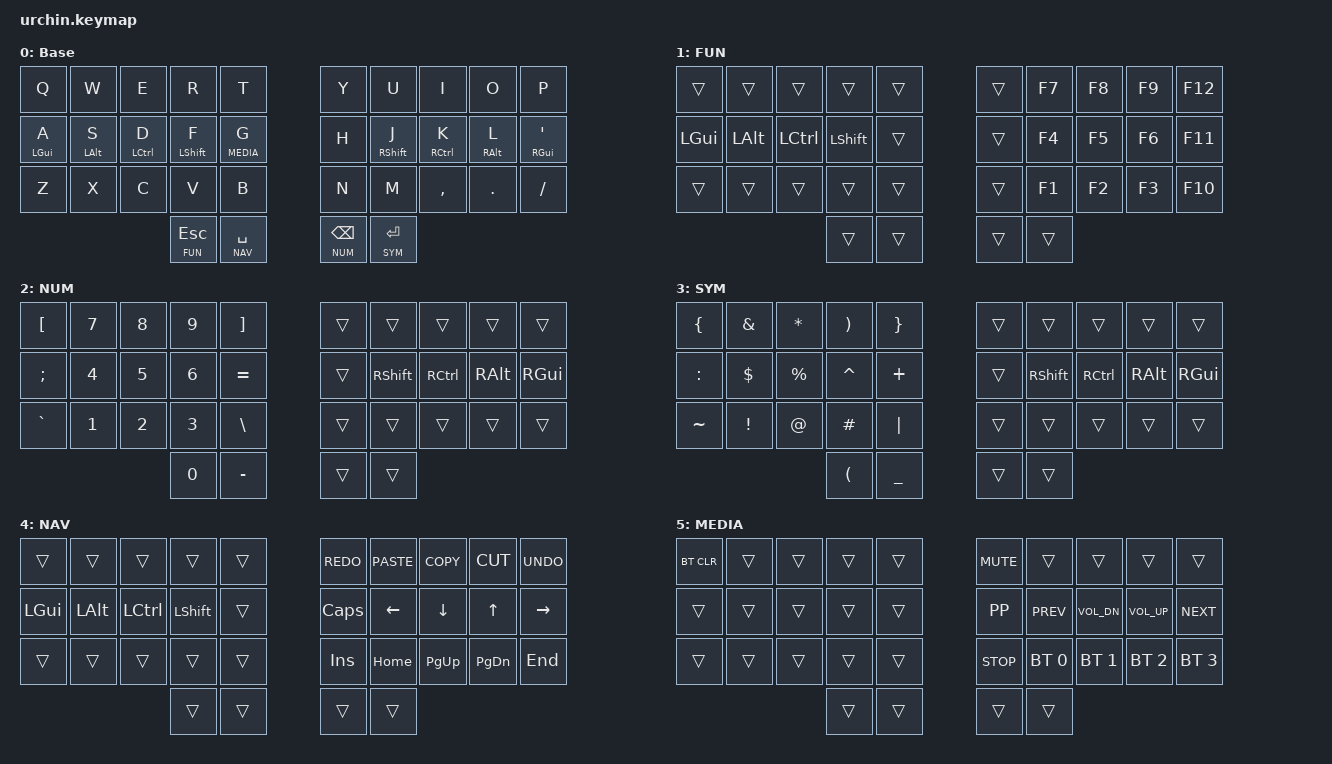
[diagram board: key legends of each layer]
/*
 * Copyright (c) 2020 duckyb
 *
 * SPDX-License-Identifier: MIT
 */

#include <behaviors.dtsi>
#include <dt-bindings/zmk/keys.h>
#include <dt-bindings/zmk/bt.h>
#include <dt-bindings/zmk/outputs.h>

// Layer definitions
#define BASE 0
#define FUN 1
#define NUM 2
#define SYM 3
#define NAV 4
#define MEDIA 5
// #define ACCENT 5
// #define SETTINGS 6
// -----------------

&sk {
	// don't release mods on other mods presses
	ignore-modifiers;
};

&lt {
    quick-tap-ms = <200>;
};


/ {

    behaviors {
        hm: homerow_mods {
            compatible = "zmk,behavior-hold-tap";
            #binding-cells = <2>;
            tapping-term-ms = <200>;
            quick-tap-ms = <0>;
            flavor = "tap-preferred";
            bindings = <&kp>, <&kp>;
        };
		lt {
			quick-tap-ms = <100>;	
		};
    };

    combos {
        compatible = "zmk,combos";
        // Your combos go here
        tab {
            timeout-ms = <50>;
            key-positions = <30 33>;
            bindings = <&kp TAB>;
        };
        del {
            timeout-ms = <50>;
            key-positions = <31 32>;
            bindings = <&kp DEL>;
        };

    };

	keymap {

		compatible = "zmk,keymap";
		// Base alpha layer
		default_layer {
			label = "Base";
			bindings = <
			// 0        // 1        //2          //3            //4                              // 5              // 6          // 7            // 8          // 9
			&kp Q       &kp W       &kp E        &kp R          &kp T                            &kp Y             &kp U         &kp I           &kp O         &kp P 
			// 10       // 11       //12         //13           //14                             //15              // 16         // 17           // 18         // 19
			&hm LGUI A  &hm LALT S  &hm LCTRL  D &hm LSHFT  F   &lt MEDIA G            &kp H       &hm RSHFT J   &hm RCTRL K     &hm RALT  L   &hm RGUI  SQT
			// 20       // 21       // 22         // 23         // 24                            // 25             // 26         // 27           // 28         // 29
			&kp Z       &kp X       &kp C        &kp V          &kp B                            &kp N             &kp M         &kp COMMA       &kp DOT       &kp SLASH
									             // 30           // 31                           // 32             // 33 
					                             &lt FUN ESC    &lt NAV SPACE                    &lt NUM BACKSPACE &lt SYM RET  
			>;
		};

		fun_layer {
			label = "FUN";
			bindings = <
			&trans    &trans    &trans     &trans     &trans             &trans  &kp F7 &kp F8 &kp F9 &kp F12
			&kp LGUI  &kp LALT  &kp LCTRL  &kp LSHFT  &trans             &trans  &kp F4 &kp F5 &kp F6 &kp F11
			&trans    &trans    &trans     &trans     &trans             &trans  &kp F1 &kp F2 &kp F3 &kp F10
								           &trans     &trans             &trans &trans
			>;
		};

		num_layer {
			label = "NUM";
			bindings = <
			&kp LBKT  &kp N7  &kp N8  &kp N9  &kp RBKT           &trans &trans &trans &trans &trans
			&kp SEMI  &kp N4  &kp N5  &kp N6  &kp EQUAL          &trans &kp RSHFT &kp RCTRL &kp RALT  &kp RGUI  
			&kp GRAVE &kp N1  &kp N2  &kp N3  &kp BSLH           &trans &trans &trans &trans &trans
								      &kp N0  &kp MINUS          &trans &trans
			>;
		};

		sym_layer {
			label = "SYM";
			bindings = <
			&kp LBRC  &kp AMPS &kp STAR   &kp RPAR    &kp RBRC          &trans &trans    &trans    &trans    &trans
			&kp COLON &kp DLLR &kp PRCNT  &kp CARET   &kp PLUS          &trans &kp RSHFT &kp RCTRL &kp RALT  &kp RGUI  
			&kp TILDE &kp EXCL &kp AT     &kp HASH    &kp PIPE          &trans &trans    &trans    &trans    &trans
								          &kp LPAR    &kp UNDER         &trans &trans
			>;
		};

		nav_layer {
			label = "NAV";
			bindings = <
			&trans    &trans    &trans     &trans    &trans          &kp K_REDO &kp K_PASTE &kp K_COPY  &kp K_CUT &kp K_UNDO
			&kp LGUI  &kp LALT  &kp LCTRL  &kp LSHFT &trans          &kp CAPS   &kp LEFT    &kp DOWN    &kp UP    &kp RIGHT
			&trans    &trans    &trans     &trans    &trans          &kp INS    &kp HOME    &kp PG_UP   &kp PG_DN &kp END
								           &trans    &trans          &trans     &trans
			>;
		};
		media_layer {
			label = "MEDIA";
			bindings = <
			&bt BT_CLR &trans &trans  &trans  &trans             &kp K_MUTE &trans        &trans       &trans       &trans
			&trans     &trans &trans  &trans  &trans             &kp K_PP   &kp K_PREV    &kp K_VOL_DN &kp K_VOL_UP &kp K_NEXT
			&trans     &trans &trans  &trans  &trans             &kp K_STOP &bt BT_SEL 0  &bt BT_SEL 1 &bt BT_SEL 2 &bt BT_SEL 3
								      &trans  &trans             &trans     &trans
			>;
		};

	};
};
